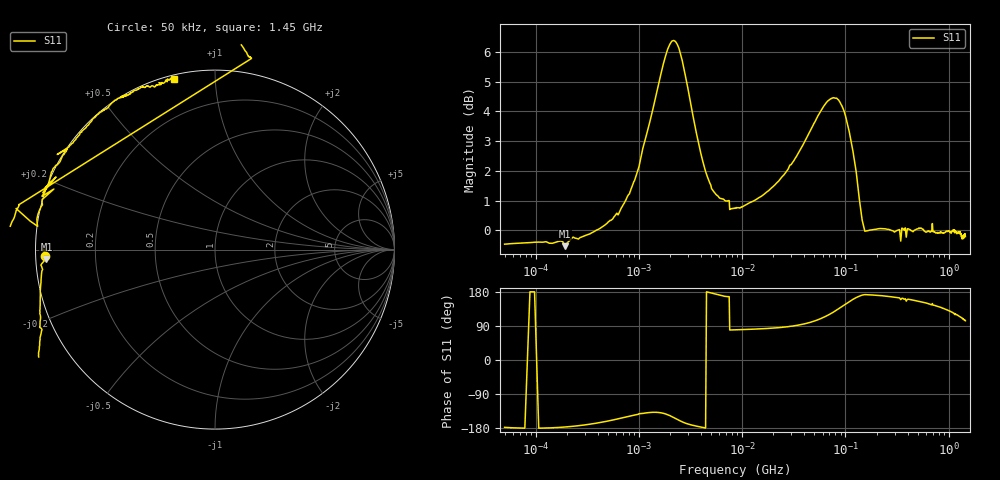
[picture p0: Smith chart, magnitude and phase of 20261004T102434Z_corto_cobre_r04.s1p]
! piloto_corto / corto_cobre / r04
# HZ S RI R 50
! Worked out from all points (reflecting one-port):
!   501 points, 50 kHz to 1.45 GHz, reference 50 ohm
!   lowest |S11| = -0.5 dB at 192.5 kHz (marker M1), VSWR 32.56, Z = 1.54 - j1.39 ohm
!   phase of S11 starts at -178 deg and turns -79 deg over the sweep
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50000  -0.947 -0.0373
183000  -0.9559 -0.0452
192500  -0.939 -0.0523
373000  -0.9725 -0.2164
658000  -0.9704 -0.4734
981000  -1.014 -0.756
1630000  -1.387 -1.193
1990000  -1.716 -1.128
2440000  -1.89 -0.7188
2890000  -1.738 -0.3769
3430000  -1.508 -0.178
4960000  -1.19 0.0557
7300000  -1.093 0.2496
7750000  0.2031 1.068
8560000  0.1952 1.072
3.16e7  -0.000655 1.309
4.69e7  -0.2669 1.458
6.76e7  -0.7815 1.453
8.02e7  -1.07 1.278
9.46e7  -1.278 0.9681
9.82e7  -1.302 0.883
1e8  -1.312 0.8403
1.18e8  -1.277 0.4666
1.36e8  -1.108 0.2286
1.63e8  -0.989 0.1347
4.06e8  -0.9473 0.3378
9.28e8  -0.6878 0.7153
1.45e9  -0.2309 0.9484
